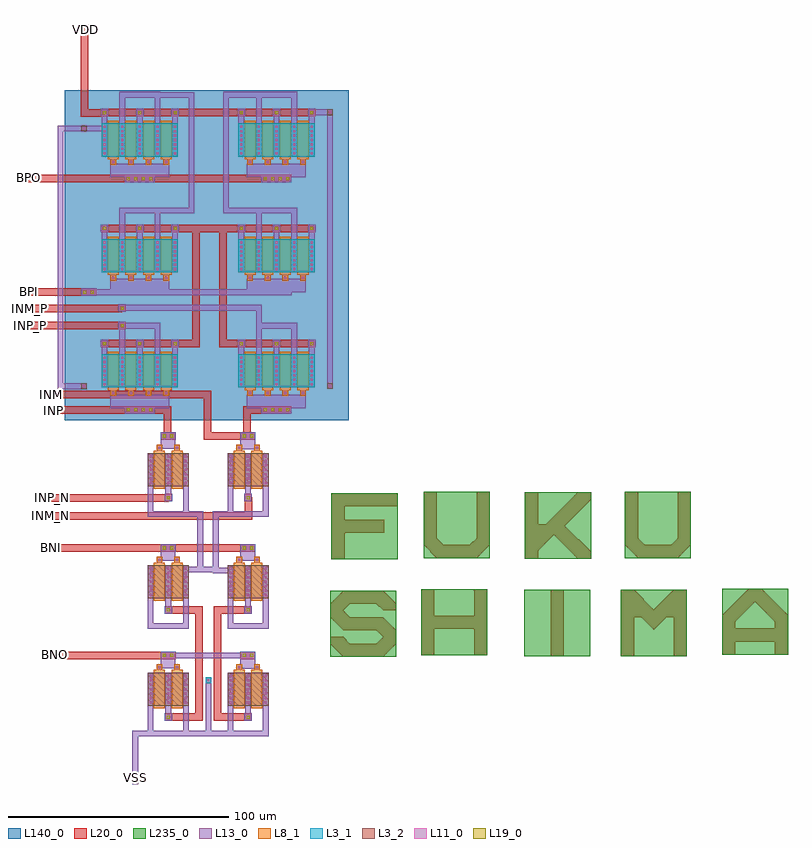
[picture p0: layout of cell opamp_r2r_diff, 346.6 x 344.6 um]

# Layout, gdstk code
import gdstk
lib = gdstk.Library(unit=1e-6, precision=1e-07)
def R(c, l, rs):  # rectangles x0, y0, x1, y1
    for r in rs: c.add(gdstk.rectangle(r[:2], r[2:], *l))
def A(c, l, x, y, w, h, nx, ny, dx, dy):  # array of equal rectangles
    R(c, l, [(x+i*dx, y+j*dy, x+i*dx+w, y+j*dy+h) for i in range(nx) for j in range(ny)])
def P(c, l, *ps):  # polygons
    for p in ps: c.add(gdstk.Polygon(p, *l))
L3_1 = (3, 1)
L3_2 = (3, 2)
L8_1 = (8, 1)
L11_0 = (11, 0)
L13_0 = (13, 0)
L19_0 = (19, 0)
L20_0 = (20, 0)
L140_0 = (140, 0)
L235_0 = (235, 0)

c_u = lib.new_cell('U')
P(c_u, L20_0, [(6,0),(0,6),(0,30),(6,30),(6,9),(9,6),(21,6),(24,9),(24,30),(30,30),(30,6),(24,0)])
R(c_u, L235_0, [(0,0,30,30)])

c_h = lib.new_cell('H')
P(c_h, L20_0, [(0,0),(0,30),(6,30),(6,18),(24,18),(24,30),(30,30),(30,0),(24,0),(24,12),(6,12),(6,0)])
R(c_h, L235_0, [(0,0,30,30)])

cont_g = lib.new_cell('cont_g')
R(cont_g, L8_1, [(-1.3,-1.3,1.3,1.3)])
R(cont_g, L11_0, [(-0.5,-0.5,0.5,0.5)])
R(cont_g, L13_0, [(-1.3,-1.3,1.3,1.3)])

via_1 = lib.new_cell('via_1')
R(via_1, L13_0, [(-1.7,-1.7,1.7,1.7)])
R(via_1, L19_0, [(-0.7,-0.7,0.7,0.7)])
R(via_1, L20_0, [(-1.7,-1.7,1.7,1.7)])

fet_p = lib.new_cell('fet_p')
R(fet_p, L3_1, [(-17.3,-7.5,17.3,7.5)])
A(fet_p, L11_0, -16.5, -6.5, 1, 1, 5, 7, 8, 2)
A(fet_p, L13_0, -17.3, -7.3, 2.6, 14.6, 5, 1, 8, 0)
fet_p.add(gdstk.FlexPath([(4,-8.7),(4,8.7)], 5, ends="flush", simple_path=True, layer=8, datatype=1))  # L8_1
fet_p.add(gdstk.FlexPath([(-4,-8.7),(-4,8.7)], 5, ends="flush", simple_path=True, layer=8, datatype=1))  # L8_1
fet_p.add(gdstk.FlexPath([(12,-8.7),(12,8.7)], 5, ends="flush", simple_path=True, layer=8, datatype=1))  # L8_1
fet_p.add(gdstk.FlexPath([(-12,-8.7),(-12,8.7)], 5, ends="flush", simple_path=True, layer=8, datatype=1))  # L8_1

cont_n = lib.new_cell('cont_n')
R(cont_n, L3_2, [(-1.3,-1.3,1.3,1.3)])
R(cont_n, L11_0, [(-0.5,-0.5,0.5,0.5)])
R(cont_n, L13_0, [(-1.3,-1.3,1.3,1.3)])

fet_n = lib.new_cell('fet_n')
R(fet_n, L3_2, [(-9.3,-7.5,9.3,7.5)])
A(fet_n, L11_0, -8.5, -6.5, 1, 1, 3, 7, 8, 2)
A(fet_n, L13_0, -9.3, -7.3, 2.6, 14.6, 3, 1, 8, 0)
fet_n.add(gdstk.FlexPath([(4,-8.7),(4,8.7)], 5, ends="flush", simple_path=True, layer=8, datatype=1))  # L8_1
fet_n.add(gdstk.FlexPath([(-4,-8.7),(-4,8.7)], 5, ends="flush", simple_path=True, layer=8, datatype=1))  # L8_1

cont_p = lib.new_cell('cont_p')
R(cont_p, L3_1, [(-1.3,-1.3,1.3,1.3)])
R(cont_p, L11_0, [(-0.5,-0.5,0.5,0.5)])
R(cont_p, L13_0, [(-1.3,-1.3,1.3,1.3)])

c_f = lib.new_cell('F')
P(c_f, L20_0, [(0,0),(0,30),(30,30),(30,24),(6,24),(6,18),(24,18),(24,12),(6,12),(6,0)])
R(c_f, L235_0, [(0,0,30,30)])

c_s = lib.new_cell('S')
P(c_s, L20_0, [(6,0),(0,6),(0,9),(6,9),(9,6),(21,6),(24,9),(21,12),(6,12),(0,18),(0,24),(6,30),(24,30),(30,24),(30,21),(24,21),(21,24),(9,24),(6,21),(9,18),(24,18),(30,12),(30,6),(24,0)])
R(c_s, L235_0, [(0,0,30,30)])

c_k = lib.new_cell('K')
P(c_k, L20_0, [(0,0),(0,30),(6,30),(6,15.5),(9.5,15.5),(24,30),(30,30),(30,27),(18,15),(30,3),(30,0),(24,0),(13.2,10.8),(6,3.6),(6,0)])
R(c_k, L235_0, [(0,0,30,30)])

c_i = lib.new_cell('I')
R(c_i, L20_0, [(12,0,18,30)])
R(c_i, L235_0, [(0,0,30,30)])

c_m = lib.new_cell('M')
P(c_m, L20_0, [(0,0),(0,30),(6,30),(15,21),(24,30),(30,30),(30,0),(24,0),(24,17.7),(20.7,17.7),(15,12),(9.3,17.7),(6,17.7),(6,0)])
R(c_m, L235_0, [(0,0,30,30)])

c_a = lib.new_cell('A')
P(c_a, L20_0, [(0,0),(0,18),(12,30),(18,30),(30,18),(30,0),(24,0),(24,6),(6,6),(6,12),(24,12),(24,15),(15,24),(6,15),(6,0)])
R(c_a, L235_0, [(0,0,30,30)])

opamp_r2r_diff = lib.new_cell('opamp_r2r_diff')
R(opamp_r2r_diff, L13_0, [(45.3,-239.7,52,-234.5), (9.1,-239.5,15.8,-234.3), (9.1,-190.7,15.8,-185.5), (45.3,-190.7,52,-185.5), (45.3,-140.2,52,-135), (9.1,-140,15.8,-134.8), (-13.6,-121.5,13,-115.3), (48.3,-121.5,74.9,-115.3), (-13.6,-68.9,13,-62.7), (48.3,-68.9,74.9,-62.7), (-13.6,-16.8,13,-10.6), (48.3,-16.8,74.9,-10.6)])
R(opamp_r2r_diff, L140_0, [(-34.3,-126.9,94.4,22.7)])
opamp_r2r_diff.add(gdstk.FlexPath([(15.7,12.5),(-16.4,12.5)], 3.4, ends="flush", simple_path=True, layer=20, datatype=0))  # L20_0
opamp_r2r_diff.add(gdstk.FlexPath([(77.7,12.5),(45.6,12.5)], 3.4, ends="flush", simple_path=True, layer=20, datatype=0))  # L20_0
opamp_r2r_diff.add(gdstk.FlexPath([(15.7,-40),(-16.4,-40)], 3.4, ends="flush", simple_path=True, layer=20, datatype=0))  # L20_0
opamp_r2r_diff.add(gdstk.FlexPath([(77.7,-40),(45.6,-40)], 3.4, ends="flush", simple_path=True, layer=20, datatype=0))  # L20_0
opamp_r2r_diff.add(gdstk.FlexPath([(15.7,-92.2),(-16.4,-92.2)], 3.4, ends="flush", simple_path=True, layer=20, datatype=0))  # L20_0
opamp_r2r_diff.add(gdstk.FlexPath([(77.7,-92.2),(45.6,-92.2)], 3.4, ends="flush", simple_path=True, layer=20, datatype=0))  # L20_0
opamp_r2r_diff.add(gdstk.FlexPath([(-16.6,12.4),(-25.3,12.4),(-25.3,52.7)], 3.4, ends="flush", simple_path=True, layer=20, datatype=0))  # L20_0
opamp_r2r_diff.add(gdstk.FlexPath([(15.7,12.5),(46.2,12.5)], 3.4, ends="flush", simple_path=True, layer=20, datatype=0))  # L20_0
opamp_r2r_diff.add(gdstk.FlexPath([(15.4,-40),(25.1,-40),(25.1,-92.2),(13.6,-92.2)], 3.4, ends="flush", simple_path=True, layer=20, datatype=0))  # L20_0
opamp_r2r_diff.add(gdstk.FlexPath([(45.5,-40),(37.5,-40),(37.5,-92.2),(45.4,-92.2)], 3.4, ends="flush", simple_path=True, layer=20, datatype=0))  # L20_0
opamp_r2r_diff.add(gdstk.FlexPath([(59.9,-17.3),(-52.9,-17.3)], 3.4, ends="flush", simple_path=True, layer=20, datatype=0))  # L20_0
opamp_r2r_diff.add(gdstk.FlexPath([(-26,-68.9),(-52.7,-68.9)], 3.4, ends="flush", simple_path=True, layer=20, datatype=0))  # L20_0
opamp_r2r_diff.add(gdstk.FlexPath([(24.9,-40.1),(39.3,-40.1)], 3.4, ends="flush", simple_path=True, layer=20, datatype=0))  # L20_0
opamp_r2r_diff.add(gdstk.FlexPath([(12.2,-134.3),(12.2,-122.3),(-42,-122.3)], 3.4, ends="flush", simple_path=True, layer=20, datatype=0))  # L20_0
opamp_r2r_diff.add(gdstk.FlexPath([(56.9,-122.3),(48.4,-122.3),(48.4,-134.1),(30.3,-134.1),(30.3,-115.3),(-42.4,-115.3)], 3.4, ends="flush", simple_path=True, layer=20, datatype=0))  # L20_0
opamp_r2r_diff.add(gdstk.FlexPath([(12.8,-162.2),(-42.6,-162.2)], 3.4, ends="flush", simple_path=True, layer=20, datatype=0))  # L20_0
opamp_r2r_diff.add(gdstk.FlexPath([(48.9,-161.9),(48.9,-170.3),(-42.5,-170.3)], 3.4, ends="flush", simple_path=True, layer=20, datatype=0))  # L20_0
opamp_r2r_diff.add(gdstk.FlexPath([(12.5,-212.9),(26.5,-212.9),(26.5,-261.6),(12,-261.6)], 3.4, ends="flush", simple_path=True, layer=20, datatype=0))  # L20_0
opamp_r2r_diff.add(gdstk.FlexPath([(48.8,-212.9),(35,-212.9),(35,-261.6),(48.9,-261.6)], 3.4, ends="flush", simple_path=True, layer=20, datatype=0))  # L20_0
opamp_r2r_diff.add(gdstk.FlexPath([(10.8,-184.9),(-42.3,-184.9)], 3.4, ends="flush", simple_path=True, layer=20, datatype=0))  # L20_0
opamp_r2r_diff.add(gdstk.FlexPath([(13.4,-184.9),(46.8,-184.9)], 3.4, ends="flush", simple_path=True, layer=20, datatype=0))  # L20_0
opamp_r2r_diff.add(gdstk.FlexPath([(9.5,-233.6),(-42.5,-233.6)], 3.4, ends="flush", simple_path=True, layer=20, datatype=0))  # L20_0
opamp_r2r_diff.add(gdstk.FlexPath([(-8.4,-84.1),(-52.7,-84.1)], 3.4, ends="flush", simple_path=True, layer=20, datatype=0))  # L20_0
opamp_r2r_diff.add(gdstk.FlexPath([(-8.2,-76.2),(-52.1,-76.2)], 3.4, ends="flush", simple_path=True, layer=20, datatype=0))  # L20_0
opamp_r2r_diff.add(gdstk.FlexPath([(-16.3,6.2),(-16.3,12.2)], 2.6, ends="flush", simple_path=True, layer=13, datatype=0))  # L13_0
opamp_r2r_diff.add(gdstk.FlexPath([(-0.3,6.2),(-0.3,12.2)], 2.6, ends="flush", simple_path=True, layer=13, datatype=0))  # L13_0
opamp_r2r_diff.add(gdstk.FlexPath([(15.7,6.2),(15.7,12.2)], 2.6, ends="flush", simple_path=True, layer=13, datatype=0))  # L13_0
opamp_r2r_diff.add(gdstk.FlexPath([(-8.3,6.2),(-8.3,20.6),(7.7,20.6),(7.7,6.4)], 2.6, ends="flush", simple_path=True, layer=13, datatype=0))  # L13_0
opamp_r2r_diff.add(gdstk.FlexPath([(48.8,-155.4),(48.8,-161.9)], 2.6, ends="flush", simple_path=True, layer=13, datatype=0))  # L13_0
opamp_r2r_diff.add(gdstk.FlexPath([(45.7,6.2),(45.7,12.2)], 2.6, ends="flush", simple_path=True, layer=13, datatype=0))  # L13_0
opamp_r2r_diff.add(gdstk.FlexPath([(61.7,6.2),(61.7,12.2)], 2.6, ends="flush", simple_path=True, layer=13, datatype=0))  # L13_0
opamp_r2r_diff.add(gdstk.FlexPath([(77.7,6.2),(77.7,12.2)], 2.6, ends="flush", simple_path=True, layer=13, datatype=0))  # L13_0
opamp_r2r_diff.add(gdstk.FlexPath([(53.7,6.2),(53.7,20.6),(69.7,20.6),(69.7,6.4)], 2.6, ends="flush", simple_path=True, layer=13, datatype=0))  # L13_0
opamp_r2r_diff.add(gdstk.FlexPath([(40.8,-155.4),(40.8,-169.5),(56.8,-169.5),(56.8,-155.4)], 2.6, ends="flush", simple_path=True, layer=13, datatype=0))  # L13_0
opamp_r2r_diff.add(gdstk.FlexPath([(-16.3,-46.3),(-16.3,-40.3)], 2.6, ends="flush", simple_path=True, layer=13, datatype=0))  # L13_0
opamp_r2r_diff.add(gdstk.FlexPath([(-0.3,-46.3),(-0.3,-40.3)], 2.6, ends="flush", simple_path=True, layer=13, datatype=0))  # L13_0
opamp_r2r_diff.add(gdstk.FlexPath([(15.7,-46.3),(15.7,-40.3)], 2.6, ends="flush", simple_path=True, layer=13, datatype=0))  # L13_0
opamp_r2r_diff.add(gdstk.FlexPath([(-8.3,-46.3),(-8.3,-31.9),(7.7,-31.9),(7.7,-46.1)], 2.6, ends="flush", simple_path=True, layer=13, datatype=0))  # L13_0
opamp_r2r_diff.add(gdstk.FlexPath([(45.7,-46.3),(45.7,-40.3)], 2.6, ends="flush", simple_path=True, layer=13, datatype=0))  # L13_0
opamp_r2r_diff.add(gdstk.FlexPath([(61.7,-46.3),(61.7,-40.3)], 2.6, ends="flush", simple_path=True, layer=13, datatype=0))  # L13_0
opamp_r2r_diff.add(gdstk.FlexPath([(77.7,-46.3),(77.7,-40.3)], 2.6, ends="flush", simple_path=True, layer=13, datatype=0))  # L13_0
opamp_r2r_diff.add(gdstk.FlexPath([(53.7,-46.3),(53.7,-31.9),(69.7,-31.9),(69.7,-46.1)], 2.6, ends="flush", simple_path=True, layer=13, datatype=0))  # L13_0
opamp_r2r_diff.add(gdstk.FlexPath([(48.8,-206.2),(48.8,-212.7)], 2.6, ends="flush", simple_path=True, layer=13, datatype=0))  # L13_0
opamp_r2r_diff.add(gdstk.FlexPath([(-16.3,-98.5),(-16.3,-92.5)], 2.6, ends="flush", simple_path=True, layer=13, datatype=0))  # L13_0
opamp_r2r_diff.add(gdstk.FlexPath([(-0.3,-98.5),(-0.3,-92.5)], 2.6, ends="flush", simple_path=True, layer=13, datatype=0))  # L13_0
opamp_r2r_diff.add(gdstk.FlexPath([(15.7,-98.5),(15.7,-92.5)], 2.6, ends="flush", simple_path=True, layer=13, datatype=0))  # L13_0
opamp_r2r_diff.add(gdstk.FlexPath([(-8.3,-98.5),(-8.3,-84.1),(7.7,-84.1),(7.7,-98.3)], 2.6, ends="flush", simple_path=True, layer=13, datatype=0))  # L13_0
opamp_r2r_diff.add(gdstk.FlexPath([(40.8,-206.2),(40.8,-220.3),(56.8,-220.3),(56.8,-206.2)], 2.6, ends="flush", simple_path=True, layer=13, datatype=0))  # L13_0
opamp_r2r_diff.add(gdstk.FlexPath([(45.7,-98.5),(45.7,-92.5)], 2.6, ends="flush", simple_path=True, layer=13, datatype=0))  # L13_0
opamp_r2r_diff.add(gdstk.FlexPath([(61.7,-98.5),(61.7,-92.5)], 2.6, ends="flush", simple_path=True, layer=13, datatype=0))  # L13_0
opamp_r2r_diff.add(gdstk.FlexPath([(77.7,-98.5),(77.7,-92.5)], 2.6, ends="flush", simple_path=True, layer=13, datatype=0))  # L13_0
opamp_r2r_diff.add(gdstk.FlexPath([(53.7,-98.5),(53.7,-84.1),(69.7,-84.1),(69.7,-98.3)], 2.6, ends="flush", simple_path=True, layer=13, datatype=0))  # L13_0
opamp_r2r_diff.add(gdstk.FlexPath([(34.1,-194.7),(26.1,-194.7)], 2.6, ends="flush", simple_path=True, layer=13, datatype=0))  # L13_0
opamp_r2r_diff.add(gdstk.FlexPath([(7.5,20.5),(23.2,20.5),(23.2,-31.9),(7.8,-31.9)], 2.6, ends="flush", simple_path=True, layer=13, datatype=0))  # L13_0
opamp_r2r_diff.add(gdstk.FlexPath([(53.7,20.6),(38.8,20.6),(38.8,-31.9),(54.4,-31.9)], 2.6, ends="flush", simple_path=True, layer=13, datatype=0))  # L13_0
opamp_r2r_diff.add(gdstk.FlexPath([(68.5,-68.9),(-26.5,-68.9)], 2.6, ends="flush", simple_path=True, layer=13, datatype=0))  # L13_0
opamp_r2r_diff.add(gdstk.FlexPath([(12.6,-155.4),(12.6,-161.9)], 2.6, ends="flush", simple_path=True, layer=13, datatype=0))  # L13_0
opamp_r2r_diff.add(gdstk.FlexPath([(4.6,-155.4),(4.6,-169.5),(20.6,-169.5),(20.6,-155.4)], 2.6, ends="flush", simple_path=True, layer=13, datatype=0))  # L13_0
opamp_r2r_diff.add(gdstk.FlexPath([(12.6,-206.2),(12.6,-212.7)], 2.6, ends="flush", simple_path=True, layer=13, datatype=0))  # L13_0
opamp_r2r_diff.add(gdstk.FlexPath([(4.6,-206.2),(4.6,-220.3),(20.6,-220.3),(20.6,-206.2)], 2.6, ends="flush", simple_path=True, layer=13, datatype=0))  # L13_0
opamp_r2r_diff.add(gdstk.FlexPath([(48.8,-254.9),(48.8,-261.4)], 2.6, ends="flush", simple_path=True, layer=13, datatype=0))  # L13_0
opamp_r2r_diff.add(gdstk.FlexPath([(40.8,-254.9),(40.8,-269),(56.8,-269),(56.8,-254.9)], 2.6, ends="flush", simple_path=True, layer=13, datatype=0))  # L13_0
opamp_r2r_diff.add(gdstk.FlexPath([(12.6,-254.9),(12.6,-261.4)], 2.6, ends="flush", simple_path=True, layer=13, datatype=0))  # L13_0
opamp_r2r_diff.add(gdstk.FlexPath([(4.6,-254.9),(4.6,-269),(20.6,-269),(20.6,-254.9)], 2.6, ends="flush", simple_path=True, layer=13, datatype=0))  # L13_0
opamp_r2r_diff.add(gdstk.FlexPath([(20.6,-169.5),(27.1,-169.5),(27.1,-194.7),(20.2,-194.7)], 2.6, ends="flush", simple_path=True, layer=13, datatype=0))  # L13_0
opamp_r2r_diff.add(gdstk.FlexPath([(40.8,-169.5),(34.1,-169.5),(34.1,-195.1),(40.7,-195.1)], 2.6, ends="flush", simple_path=True, layer=13, datatype=0))  # L13_0
opamp_r2r_diff.add(gdstk.FlexPath([(41.9,-269),(-2.4,-269),(-2.4,-291.9)], 2.6, ends="flush", simple_path=True, layer=13, datatype=0))  # L13_0
opamp_r2r_diff.add(gdstk.FlexPath([(-25.6,5.3),(-16.3,5.3)], 2.6, ends="flush", simple_path=True, layer=13, datatype=0))  # L13_0
opamp_r2r_diff.add(gdstk.FlexPath([(-25.7,5.3),(-36.3,5.3),(-36.3,-111.5),(-25.2,-111.5)], 2.6, ends="flush", simple_path=True, layer=13, datatype=0))  # L13_0
opamp_r2r_diff.add(gdstk.FlexPath([(85.9,-111.4),(85.9,12.7),(77.5,12.7)], 2.6, ends="flush", simple_path=True, layer=13, datatype=0))  # L13_0
opamp_r2r_diff.add(gdstk.FlexPath([(30.8,-245),(30.8,-268.4)], 2.6, ends="flush", simple_path=True, layer=13, datatype=0))  # L13_0
opamp_r2r_diff.add(gdstk.FlexPath([(46.9,-233.6),(10.4,-233.6)], 2.6, ends="flush", simple_path=True, layer=13, datatype=0))  # L13_0
opamp_r2r_diff.add(gdstk.FlexPath([(-8.5,-76),(53.8,-76),(53.8,-84.8)], 2.6, ends="flush", simple_path=True, layer=13, datatype=0))  # L13_0
opamp_r2r_diff.add(gdstk.Reference(c_u, (128.4,-189.5)))
opamp_r2r_diff.add(gdstk.Reference(c_h, (127.3,-233.6)))
opamp_r2r_diff.add(gdstk.Reference(cont_g, (-4.3,-9.9)))
opamp_r2r_diff.add(gdstk.Reference(cont_g, (3.7,-9.9)))
opamp_r2r_diff.add(gdstk.Reference(cont_g, (11.7,-9.9)))
opamp_r2r_diff.add(gdstk.Reference(via_1, (-16.3,12.5)))
opamp_r2r_diff.add(gdstk.Reference(via_1, (-0.3,12.5)))
opamp_r2r_diff.add(gdstk.Reference(via_1, (15.7,12.5)))
opamp_r2r_diff.add(gdstk.Reference(fet_p, (61.7,0.1)))
opamp_r2r_diff.add(gdstk.Reference(cont_g, (49.7,-9.9)))
opamp_r2r_diff.add(gdstk.Reference(cont_g, (57.7,-9.9)))
opamp_r2r_diff.add(gdstk.Reference(cont_g, (65.7,-9.9)))
opamp_r2r_diff.add(gdstk.Reference(cont_g, (73.7,-9.9)))
opamp_r2r_diff.add(gdstk.Reference(via_1, (45.7,12.5)))
opamp_r2r_diff.add(gdstk.Reference(via_1, (61.7,12.5)))
opamp_r2r_diff.add(gdstk.Reference(via_1, (77.7,12.5)))
opamp_r2r_diff.add(gdstk.Reference(fet_p, (-0.3,-52.4)))
opamp_r2r_diff.add(gdstk.Reference(cont_g, (-12.3,-62.4)))
opamp_r2r_diff.add(gdstk.Reference(cont_g, (-4.3,-62.4)))
opamp_r2r_diff.add(gdstk.Reference(cont_g, (3.7,-62.4)))
opamp_r2r_diff.add(gdstk.Reference(cont_g, (11.7,-62.4)))
opamp_r2r_diff.add(gdstk.Reference(via_1, (-16.3,-40)))
opamp_r2r_diff.add(gdstk.Reference(via_1, (-0.3,-40)))
opamp_r2r_diff.add(gdstk.Reference(via_1, (15.7,-40)))
opamp_r2r_diff.add(gdstk.Reference(fet_p, (61.7,-52.4)))
opamp_r2r_diff.add(gdstk.Reference(cont_g, (49.7,-62.4)))
opamp_r2r_diff.add(gdstk.Reference(cont_g, (57.7,-62.4)))
opamp_r2r_diff.add(gdstk.Reference(cont_g, (65.7,-62.4)))
opamp_r2r_diff.add(gdstk.Reference(cont_g, (73.7,-62.4)))
opamp_r2r_diff.add(gdstk.Reference(via_1, (45.7,-40)))
opamp_r2r_diff.add(gdstk.Reference(via_1, (61.7,-40)))
opamp_r2r_diff.add(gdstk.Reference(via_1, (77.7,-40)))
opamp_r2r_diff.add(gdstk.Reference(fet_p, (-0.3,-104.6)))
opamp_r2r_diff.add(gdstk.Reference(cont_g, (-12.3,-114.6)))
opamp_r2r_diff.add(gdstk.Reference(cont_g, (-4.3,-114.6)))
opamp_r2r_diff.add(gdstk.Reference(cont_g, (3.7,-114.6)))
opamp_r2r_diff.add(gdstk.Reference(cont_g, (11.7,-114.6)))
opamp_r2r_diff.add(gdstk.Reference(via_1, (-16.3,-92.2)))
opamp_r2r_diff.add(gdstk.Reference(via_1, (-0.3,-92.2)))
opamp_r2r_diff.add(gdstk.Reference(via_1, (15.7,-92.2)))
opamp_r2r_diff.add(gdstk.Reference(fet_p, (61.7,-104.6)))
opamp_r2r_diff.add(gdstk.Reference(cont_g, (49.7,-114.6)))
opamp_r2r_diff.add(gdstk.Reference(cont_g, (57.7,-114.6)))
opamp_r2r_diff.add(gdstk.Reference(cont_g, (65.7,-114.6)))
opamp_r2r_diff.add(gdstk.Reference(cont_g, (73.7,-114.6)))
opamp_r2r_diff.add(gdstk.Reference(via_1, (45.7,-92.2)))
opamp_r2r_diff.add(gdstk.Reference(via_1, (61.7,-92.2)))
opamp_r2r_diff.add(gdstk.Reference(via_1, (77.7,-92.2)))
opamp_r2r_diff.add(gdstk.Reference(via_1, (-25.2,-68.9)))
opamp_r2r_diff.add(gdstk.Reference(via_1, (-21.8,-68.9)))
opamp_r2r_diff.add(gdstk.Reference(via_1, (-2.1,-17.4)))
opamp_r2r_diff.add(gdstk.Reference(via_1, (1.3,-17.4)))
opamp_r2r_diff.add(gdstk.Reference(via_1, (4.7,-17.4)))
opamp_r2r_diff.add(gdstk.Reference(via_1, (-5.5,-17.4)))
opamp_r2r_diff.add(gdstk.Reference(via_1, (59.9,-17.4)))
opamp_r2r_diff.add(gdstk.Reference(via_1, (63.3,-17.4)))
opamp_r2r_diff.add(gdstk.Reference(via_1, (66.7,-17.4)))
opamp_r2r_diff.add(gdstk.Reference(via_1, (56.5,-17.4)))
opamp_r2r_diff.add(gdstk.Reference(via_1, (-2.1,-122.3)))
opamp_r2r_diff.add(gdstk.Reference(via_1, (1.3,-122.3)))
opamp_r2r_diff.add(gdstk.Reference(via_1, (4.7,-122.3)))
opamp_r2r_diff.add(gdstk.Reference(via_1, (-5.5,-122.3)))
opamp_r2r_diff.add(gdstk.Reference(via_1, (59.9,-122.3)))
opamp_r2r_diff.add(gdstk.Reference(via_1, (63.3,-122.3)))
opamp_r2r_diff.add(gdstk.Reference(via_1, (66.7,-122.3)))
opamp_r2r_diff.add(gdstk.Reference(via_1, (56.5,-122.3)))
opamp_r2r_diff.add(gdstk.Reference(cont_n, (-25.6,5.3)))
opamp_r2r_diff.add(gdstk.Reference(cont_n, (-25.6,-111.5)))
opamp_r2r_diff.add(gdstk.Reference(cont_n, (85.9,-111.4)))
opamp_r2r_diff.add(gdstk.Reference(cont_n, (86,12.7)))
opamp_r2r_diff.add(gdstk.Reference(via_1, (-8.3,-84.1)))
opamp_r2r_diff.add(gdstk.Reference(via_1, (-8.3,-76.1)))
opamp_r2r_diff.add(gdstk.Reference(fet_p, (-0.3,0.1)))
opamp_r2r_diff.add(gdstk.Reference(cont_g, (-12.3,-9.9)))
opamp_r2r_diff.add(gdstk.Reference(cont_g, (44.8,-139.4)))
opamp_r2r_diff.add(gdstk.Reference(cont_g, (52.8,-139.4)))
opamp_r2r_diff.add(gdstk.Reference(via_1, (47,-134.1)))
opamp_r2r_diff.add(gdstk.Reference(via_1, (50.4,-134.1)))
opamp_r2r_diff.add(gdstk.Reference(fet_n, (12.6,-200.2)))
opamp_r2r_diff.add(gdstk.Reference(via_1, (12.6,-212.9)))
opamp_r2r_diff.add(gdstk.Reference(cont_g, (8.6,-190.2)))
opamp_r2r_diff.add(gdstk.Reference(cont_g, (16.6,-190.2)))
opamp_r2r_diff.add(gdstk.Reference(via_1, (10.8,-184.9)))
opamp_r2r_diff.add(gdstk.Reference(via_1, (14.2,-184.9)))
opamp_r2r_diff.add(gdstk.Reference(fet_n, (48.8,-200.2)))
opamp_r2r_diff.add(gdstk.Reference(via_1, (48.8,-212.9)))
opamp_r2r_diff.add(gdstk.Reference(cont_g, (44.8,-190.2)))
opamp_r2r_diff.add(gdstk.Reference(cont_g, (52.8,-190.2)))
opamp_r2r_diff.add(gdstk.Reference(via_1, (47,-184.9)))
opamp_r2r_diff.add(gdstk.Reference(via_1, (50.4,-184.9)))
opamp_r2r_diff.add(gdstk.Reference(fet_n, (12.6,-248.9)))
opamp_r2r_diff.add(gdstk.Reference(via_1, (12.6,-261.6)))
opamp_r2r_diff.add(gdstk.Reference(cont_g, (8.6,-238.9)))
opamp_r2r_diff.add(gdstk.Reference(cont_g, (16.6,-238.9)))
opamp_r2r_diff.add(gdstk.Reference(via_1, (10.8,-233.6)))
opamp_r2r_diff.add(gdstk.Reference(via_1, (14.2,-233.6)))
opamp_r2r_diff.add(gdstk.Reference(fet_n, (48.8,-248.9)))
opamp_r2r_diff.add(gdstk.Reference(via_1, (48.8,-261.6)))
opamp_r2r_diff.add(gdstk.Reference(cont_g, (44.8,-238.9)))
opamp_r2r_diff.add(gdstk.Reference(cont_g, (52.8,-238.9)))
opamp_r2r_diff.add(gdstk.Reference(via_1, (47,-233.6)))
opamp_r2r_diff.add(gdstk.Reference(via_1, (50.4,-233.6)))
opamp_r2r_diff.add(gdstk.Reference(via_1, (10.8,-134.1)))
opamp_r2r_diff.add(gdstk.Reference(via_1, (14.2,-134.1)))
opamp_r2r_diff.add(gdstk.Reference(fet_n, (12.6,-149.4)))
opamp_r2r_diff.add(gdstk.Reference(via_1, (12.6,-162.1)))
opamp_r2r_diff.add(gdstk.Reference(cont_p, (30.8,-244.9)))
opamp_r2r_diff.add(gdstk.Reference(cont_g, (8.6,-139.4)))
opamp_r2r_diff.add(gdstk.Reference(cont_g, (16.6,-139.4)))
opamp_r2r_diff.add(gdstk.Reference(c_f, (86.6,-190)))
opamp_r2r_diff.add(gdstk.Reference(fet_n, (48.8,-149.4)))
opamp_r2r_diff.add(gdstk.Reference(c_s, (86,-234.2)))
opamp_r2r_diff.add(gdstk.Reference(via_1, (48.8,-162.1)))
opamp_r2r_diff.add(gdstk.Reference(c_k, (174.3,-189.7)))
opamp_r2r_diff.add(gdstk.Reference(c_u, (219.6,-189.5)))
opamp_r2r_diff.add(gdstk.Reference(c_i, (174,-233.9)))
opamp_r2r_diff.add(gdstk.Reference(c_m, (217.8,-233.9)))
opamp_r2r_diff.add(gdstk.Reference(c_a, (263.7,-233.3)))
opamp_r2r_diff.add(gdstk.Label('VSS', (-2.3,-289), layer=48, texttype=0))
opamp_r2r_diff.add(gdstk.Label('VDD', (-25.1,50.2), layer=49, texttype=0))
opamp_r2r_diff.add(gdstk.Label('BPO', (-50.8,-16.9), layer=49, texttype=0))
opamp_r2r_diff.add(gdstk.Label('BPI', (-50.2,-68.8), layer=49, texttype=0))
opamp_r2r_diff.add(gdstk.Label('INP', (-39.6,-122.6), layer=49, texttype=0))
opamp_r2r_diff.add(gdstk.Label('INM', (-40.3,-115.2), layer=49, texttype=0))
opamp_r2r_diff.add(gdstk.Label('INM_N', (-40.6,-170.3), layer=49, texttype=0))
opamp_r2r_diff.add(gdstk.Label('INP_N', (-39.9,-162), layer=49, texttype=0))
opamp_r2r_diff.add(gdstk.Label('BNI', (-40.2,-184.8), layer=49, texttype=0))
opamp_r2r_diff.add(gdstk.Label('BNO', (-39.2,-233.2), layer=49, texttype=0))
opamp_r2r_diff.add(gdstk.Label('INM_P', (-50.1,-76.3), layer=49, texttype=0))
opamp_r2r_diff.add(gdstk.Label('INP_P', (-49.9,-83.8), layer=49, texttype=0))

lib.write_gds('opamp_r2r_diff.gds')
